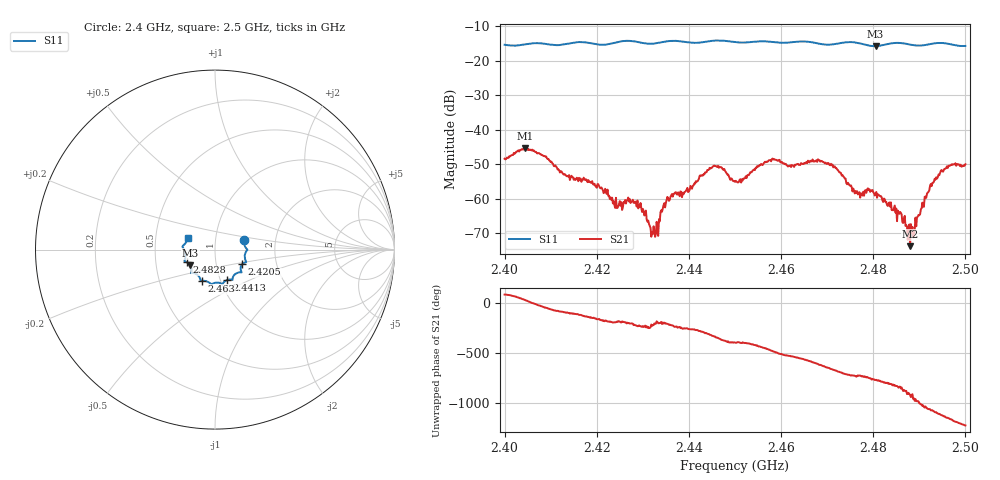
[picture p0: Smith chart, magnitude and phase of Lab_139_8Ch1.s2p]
# Hz S RI R 50
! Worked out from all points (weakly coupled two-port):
!   601 points, 2.4 GHz to 2.5 GHz, reference 50 ohm
!   highest |S21| = -45.30 dB at 2.4045 GHz (marker M1); lowest = -73.7 dB at 2.488 GHz (marker M2)
!   lowest |S11| = -15.7 dB at 2.4805 GHz (marker M3), VSWR 1.39, Z = 37.3 - j6.67 ohm
!   |S11| at or under -10 dB: start of sweep to end of sweep
!   S12 and S22 are empty: the file has one direction only
!   S11 on the Smith chart (normalised r, x): 2.4 GHz: 1.38, +0.15; 2.4205 GHz: 1.34, -0.22; 2.4413 GHz: 1.08, -0.38; 2.463 GHz: 0.82, -0.29; 2.4828 GHz: 0.72, -0.10; 2.5 GHz: 0.73, +0.10
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2.4e9  0.1627 0.0526  0.000196 0.0038  0 0  0 0
2.4045e9  0.1739 0.00616  0.00466 0.00279  0 0  0 0
2.416667e9  0.1736 -0.0696  -0.000867 -0.00153  0 0  0 0
2.4205e9  0.1515 -0.0808  -0.00142 -0.000588  0 0  0 0
2.424333e9  0.1446 -0.1173  -0.000731 6.74e-05  0 0  0 0
2.429e9  0.1379 -0.1265  -0.000458 0.000563  0 0  0 0
2.432333e9  0.1055 -0.1429  -0.000308 0.000254  0 0  0 0
2.433333e9  0.1002 -0.1517  -0.00027 0.000105  0 0  0 0
2.435667e9  0.0977 -0.1669  -0.00075 0.000556  0 0  0 0
2.441333e9  0.0674 -0.1694  -6.9e-05 0.00165  0 0  0 0
2.445833e9  0.0421 -0.1927  0.00285 0.000878  0 0  0 0
2.45e9  0.0245 -0.1852  0.00145 -0.00101  0 0  0 0
2.457833e9  -0.0295 -0.1863  -0.00158 -0.00312  0 0  0 0
2.463e9  -0.0723 -0.1737  -0.00312 4.94e-05  0 0  0 0
2.466667e9  -0.0813 -0.1674  -0.00228 0.00262  0 0  0 0
2.476667e9  -0.1318 -0.1254  0.00115 -9.18e-05  0 0  0 0
2.4805e9  -0.1384 -0.0869  0.00074 -0.000877  0 0  0 0
2.482833e9  -0.1588 -0.07  0.000142 -0.000889  0 0  0 0
2.483333e9  -0.1628 -0.0684  0.000119 -0.000835  0 0  0 0
2.488e9  -0.1657 -0.0473  -0.000193 7.02e-05  0 0  0 0
2.4945e9  -0.1813 0.0168  0.00194 -0.00136  0 0  0 0
2.5e9  -0.1515 0.0641  -0.00266 -0.00172  0 0  0 0
